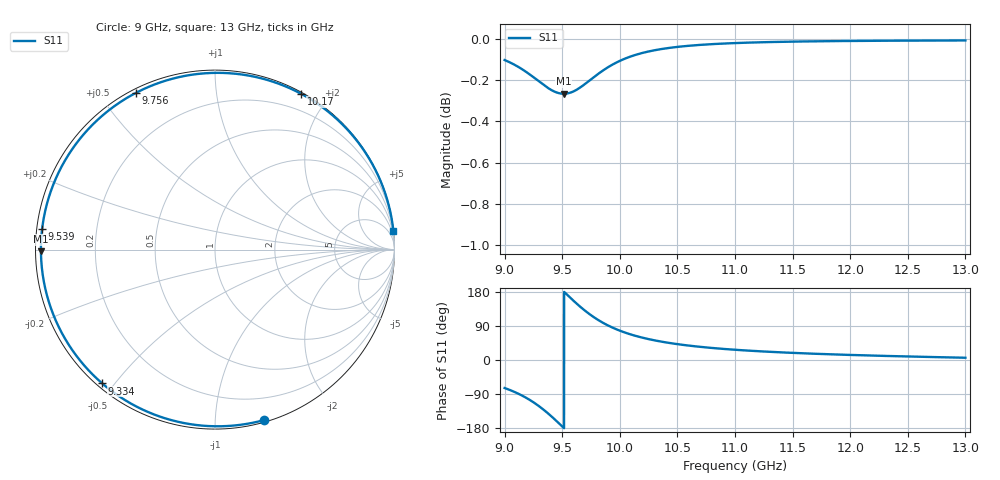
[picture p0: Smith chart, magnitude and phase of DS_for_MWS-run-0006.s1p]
! TOUCHSTONE file generated by CST DESIGN STUDIO
! Date and time: Tue Feb  4 13:40:07 2025
! Project name: C:\Work\MatlabApps\UnitCellOptimizationMatlab\CST\unitcell.cst
! Tree item: Tasks\Sweep1\SPara1\S-Parameters
! Header version: 2024
! Port assignment regex: !\s*Touchstone port\s*([0-9]+)\s*=\s*(CST MWS port|CST DES external port|CST DES block port)\s*(.+)\s* \(\"(.*)\"\)(\s*mode\s*([0-9]+))?.*
! Touchstone port assignment:
! Touchstone port 1 = CST DES external port 1 ("")
# GHz S MA R 50
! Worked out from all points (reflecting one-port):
!   4001 points, 9 GHz to 13 GHz, reference 50 ohm
!   lowest |S11| = -0.3 dB at 9.514 GHz (marker M1), VSWR 65.45, Z = 0.764 - j0.264 ohm
!   phase of S11 starts at -74 deg and turns -280 deg over the sweep
!   S11 on the Smith chart (normalised r, x): 9 GHz: 0.02, -1.33; 9.334 GHz: 0.02, -0.47; 9.539 GHz: 0.02, +0.06; 9.756 GHz: 0.02, +0.61; 10.17 GHz: 0.02, +1.69; 13 GHz: 0, +19
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9  0.9884 -73.9
9.09  0.9856 -84.8
9.194  0.9815 -101.0
9.267  0.9782 -115.0
9.334  0.9749 -130.1
9.379  0.973 -141.4
9.425  0.9713 -153.8
9.463  0.9704 -164.6
9.5  0.9699 -175.3
9.514  0.9699 -179.4
9.539  0.97 173.3
9.593  0.9711 157.8
9.653  0.9732 141.4
9.704  0.9755 128.7
9.756  0.9781 116.9
9.807  0.9805 106.6
9.862  0.983 96.8
10  0.9879 77.4
10.081  0.9901 68.7
10.168  0.9918 61.1
10.319  0.994 50.8
10.5  0.9957 41.8
10.722  0.9969 34.0
11  0.9978 27.0
11.5  0.9986 18.8
12  0.999 13.3
12.5  0.9992 9.3
13  0.9993 6.0
